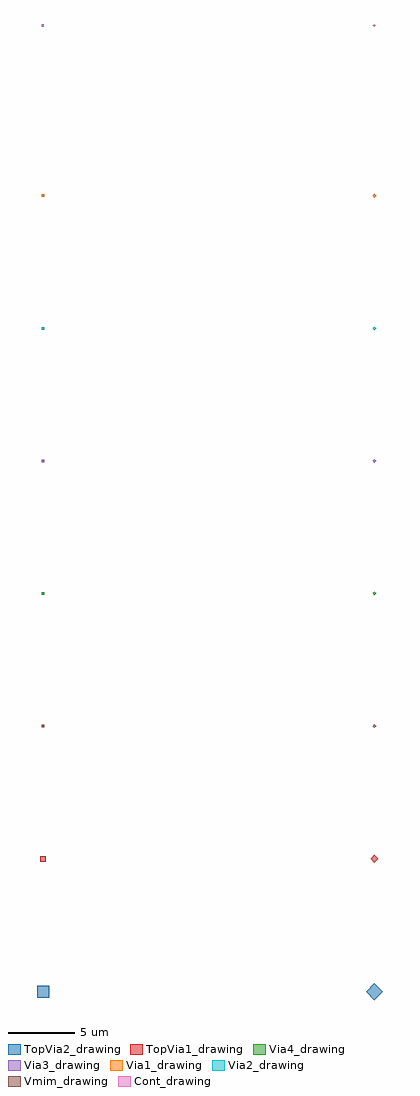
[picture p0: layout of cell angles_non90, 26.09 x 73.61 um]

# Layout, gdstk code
import gdstk
lib = gdstk.Library(unit=1e-6, precision=1e-09)
def R(c, l, rs):  # rectangles x0, y0, x1, y1
    for r in rs: c.add(gdstk.rectangle(r[:2], r[2:], *l))
def P(c, l, *ps):  # polygons
    for p in ps: c.add(gdstk.Polygon(p, *l))
Cont_drawing = (6, 0)
Via1_drawing = (19, 0)
Via2_drawing = (29, 0)
Via3_drawing = (49, 0)
Via4_drawing = (66, 0)
TopVia1_drawing = (125, 0)
Vmim_drawing = (129, 0)
TopVia2_drawing = (133, 0)

angles_non90 = lib.new_cell('angles_non90')
R(angles_non90, Cont_drawing, [(-13.45,-6.715,-13.29,-6.555)])
P(angles_non90, Cont_drawing, [(11.63,-6.748),(11.517,-6.635),(11.63,-6.522),(11.743,-6.635)])
R(angles_non90, Via1_drawing, [(-13.445,-19.57,-13.255,-19.38)])
P(angles_non90, Via1_drawing, [(11.65,-19.609),(11.516,-19.475),(11.65,-19.341),(11.784,-19.475)])
R(angles_non90, Via2_drawing, [(-13.445,-29.57,-13.255,-29.38)])
P(angles_non90, Via2_drawing, [(11.65,-29.609),(11.516,-29.475),(11.65,-29.341),(11.784,-29.475)])
R(angles_non90, Via3_drawing, [(-13.445,-39.57,-13.255,-39.38)])
P(angles_non90, Via3_drawing, [(11.65,-39.609),(11.516,-39.475),(11.65,-39.341),(11.784,-39.475)])
R(angles_non90, Via4_drawing, [(-13.445,-49.57,-13.255,-49.38)])
P(angles_non90, Via4_drawing, [(11.65,-49.609),(11.516,-49.475),(11.65,-49.341),(11.784,-49.475)])
R(angles_non90, TopVia1_drawing, [(-13.56,-69.705,-13.14,-69.285)])
P(angles_non90, TopVia1_drawing, [(11.65,-69.792),(11.353,-69.495),(11.65,-69.198),(11.947,-69.495)])
R(angles_non90, Vmim_drawing, [(-13.445,-59.57,-13.255,-59.38)])
P(angles_non90, Vmim_drawing, [(11.65,-59.609),(11.516,-59.475),(11.65,-59.341),(11.784,-59.475)])
R(angles_non90, TopVia2_drawing, [(-13.8,-79.95,-12.9,-79.05)])
P(angles_non90, TopVia2_drawing, [(11.65,-80.136),(11.014,-79.5),(11.65,-78.864),(12.286,-79.5)])
angles_non90.add(gdstk.Label('Non90_Via1', (-38.09,-18.25), layer=63, texttype=0))
angles_non90.add(gdstk.Label('Non90_Via2', (-38.09,-28.25), layer=63, texttype=0))
angles_non90.add(gdstk.Label('Non90_Via3', (-38.09,-38.25), layer=63, texttype=0))
angles_non90.add(gdstk.Label('Non90_Via4', (-38.09,-48.25), layer=63, texttype=0))
angles_non90.add(gdstk.Label('Non90_Vmim', (-38.09,-58.25), layer=63, texttype=0))
angles_non90.add(gdstk.Label('Non90_TopVia1', (-38.09,-68.25), layer=63, texttype=0))
angles_non90.add(gdstk.Label('Non90_TopVia2', (-38.09,-78.25), layer=63, texttype=0))
angles_non90.add(gdstk.Label('Non90_Cont', (-38.09,-8.84), layer=63, texttype=0))
angles_non90.add(gdstk.Label('3.1. Angles_non90', (-0.1,19.75), layer=63, texttype=0))
angles_non90.add(gdstk.Label('FAIL', (12,3.8), layer=63, texttype=0))
angles_non90.add(gdstk.Label('PASS', (-12,3.8), layer=63, texttype=0))

lib.write_gds('angles_non90.gds')
